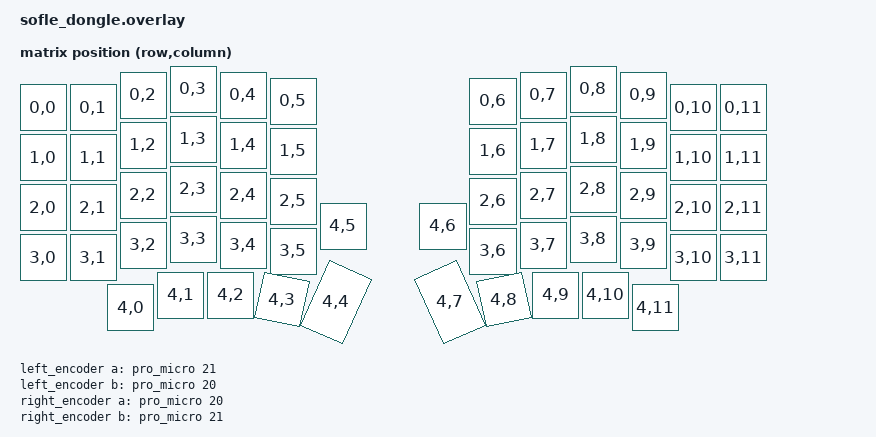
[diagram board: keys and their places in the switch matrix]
#include <dt-bindings/zmk/matrix_transform.h>
#include <physical_layouts.dtsi>

// source: https://github.com/mctechnology17/zmk-config/blob/main/boards/shields/sofle/sofle_dongle_pro_micro.overlay
/ {
    chosen {
        zephyr,display = &oled;
        zmk,kscan = &mock_kscan;
        zmk,physical-layout = &physical_layout0;
    };

    default_transform: keymap_transform_0 {
        compatible = "zmk,matrix-transform";
        columns = <16>;
        rows = <4>;
        map = <
RC(0,0) RC(0,1) RC(0,2) RC(0,3) RC(0,4) RC(0,5)                 RC(0,6) RC(0,7) RC(0,8)  RC(0,9) RC(0,10) RC(0,11)
RC(1,0) RC(1,1) RC(1,2) RC(1,3) RC(1,4) RC(1,5)                 RC(1,6) RC(1,7) RC(1,8)  RC(1,9) RC(1,10) RC(1,11)
RC(2,0) RC(2,1) RC(2,2) RC(2,3) RC(2,4) RC(2,5)                 RC(2,6) RC(2,7) RC(2,8)  RC(2,9) RC(2,10) RC(2,11)
RC(3,0) RC(3,1) RC(3,2) RC(3,3) RC(3,4) RC(3,5) RC(4,5) RC(4,6) RC(3,6) RC(3,7) RC(3,8)  RC(3,9) RC(3,10) RC(3,11)
                RC(4,0) RC(4,1) RC(4,2) RC(4,3) RC(4,4) RC(4,7) RC(4,8) RC(4,9) RC(4,10) RC(4,11)
        >;
    };

    left_encoder: encoder_left {
        compatible = "alps,ec11";
        a-gpios = <&pro_micro 21 (GPIO_ACTIVE_HIGH | GPIO_PULL_UP)>;
        b-gpios = <&pro_micro 20 (GPIO_ACTIVE_HIGH | GPIO_PULL_UP)>;
        steps = <80>;
        status = "disabled";
    };

    right_encoder: encoder_right {
        compatible = "alps,ec11";
        a-gpios = <&pro_micro 20 (GPIO_ACTIVE_HIGH | GPIO_PULL_UP)>;
        b-gpios = <&pro_micro 21 (GPIO_ACTIVE_HIGH | GPIO_PULL_UP)>;
        steps = <80>;
        status = "disabled";
    };

    sensors: sensors {
        compatible = "zmk,keymap-sensors";
        sensors = <&left_encoder &right_encoder>;
        triggers-per-rotation = <20>;
    };

    mock_kscan: kscan_0 {
        compatible = "zmk,kscan-mock";
        // wakeup-source;
        columns = <0>;
        rows = <0>;
        events = <0>;
    };

    physical_layout0: physical_layout_0 {
        compatible = "zmk,physical-layout";
        display-name = "Default Layout";
        transform = <&default_transform>;
        // main: https://github.com/zmkfirmware/zmk/blob/main/app/dts/layouts/josefadamcik/sofle.dtsi
        keys  //                     w   h    x    y     rot    rx    ry
            = <&key_physical_attrs 100 100    0   37       0     0     0>
            , <&key_physical_attrs 100 100  100   37       0     0     0>
            , <&key_physical_attrs 100 100  200   12       0     0     0>
            , <&key_physical_attrs 100 100  300    0       0     0     0>
            , <&key_physical_attrs 100 100  400   12       0     0     0>
            , <&key_physical_attrs 100 100  500   24       0     0     0>
            , <&key_physical_attrs 100 100  900   24       0     0     0>
            , <&key_physical_attrs 100 100 1000   12       0     0     0>
            , <&key_physical_attrs 100 100 1100    0       0     0     0>
            , <&key_physical_attrs 100 100 1200   12       0     0     0>
            , <&key_physical_attrs 100 100 1300   37       0     0     0>
            , <&key_physical_attrs 100 100 1400   37       0     0     0>
            , <&key_physical_attrs 100 100    0  137       0     0     0>
            , <&key_physical_attrs 100 100  100  137       0     0     0>
            , <&key_physical_attrs 100 100  200  112       0     0     0>
            , <&key_physical_attrs 100 100  300  100       0     0     0>
            , <&key_physical_attrs 100 100  400  112       0     0     0>
            , <&key_physical_attrs 100 100  500  124       0     0     0>
            , <&key_physical_attrs 100 100  900  124       0     0     0>
            , <&key_physical_attrs 100 100 1000  112       0     0     0>
            , <&key_physical_attrs 100 100 1100  100       0     0     0>
            , <&key_physical_attrs 100 100 1200  112       0     0     0>
            , <&key_physical_attrs 100 100 1300  137       0     0     0>
            , <&key_physical_attrs 100 100 1400  137       0     0     0>
            , <&key_physical_attrs 100 100    0  237       0     0     0>
            , <&key_physical_attrs 100 100  100  237       0     0     0>
            , <&key_physical_attrs 100 100  200  212       0     0     0>
            , <&key_physical_attrs 100 100  300  200       0     0     0>
            , <&key_physical_attrs 100 100  400  212       0     0     0>
            , <&key_physical_attrs 100 100  500  224       0     0     0>
            , <&key_physical_attrs 100 100  900  224       0     0     0>
            , <&key_physical_attrs 100 100 1000  212       0     0     0>
            , <&key_physical_attrs 100 100 1100  200       0     0     0>
            , <&key_physical_attrs 100 100 1200  212       0     0     0>
            , <&key_physical_attrs 100 100 1300  237       0     0     0>
            , <&key_physical_attrs 100 100 1400  237       0     0     0>
            , <&key_physical_attrs 100 100    0  337       0     0     0>
            , <&key_physical_attrs 100 100  100  337       0     0     0>
            , <&key_physical_attrs 100 100  200  312       0     0     0>
            , <&key_physical_attrs 100 100  300  300       0     0     0>
            , <&key_physical_attrs 100 100  400  312       0     0     0>
            , <&key_physical_attrs 100 100  500  324       0     0     0>
            , <&key_physical_attrs 100 100  600  274       0     0     0>
            , <&key_physical_attrs 100 100  800  274       0     0     0>
            , <&key_physical_attrs 100 100  900  324       0     0     0>
            , <&key_physical_attrs 100 100 1000  312       0     0     0>
            , <&key_physical_attrs 100 100 1100  300       0     0     0>
            , <&key_physical_attrs 100 100 1200  312       0     0     0>
            , <&key_physical_attrs 100 100 1300  337       0     0     0>
            , <&key_physical_attrs 100 100 1400  337       0     0     0>
            , <&key_physical_attrs 100 100  175  437       0     0     0>
            , <&key_physical_attrs 100 100  275  412       0     0     0>
            , <&key_physical_attrs 100 100  375  412       0     0     0>
            , <&key_physical_attrs 100 100  490  412    1200   490   412>
            , <&key_physical_attrs 100 150  600  383    2400   600   433>
            , <&key_physical_attrs 100 150  800  383  (-2400)  900   433>
            , <&key_physical_attrs 100 100  910  412  (-1200) 1010   412>
            , <&key_physical_attrs 100 100  1025 412       0     0     0>
            , <&key_physical_attrs 100 100  1125 412       0     0     0>
            , <&key_physical_attrs 100 100  1225 437       0     0     0>
        ;
    };
};

// 128x32 OLED
&pro_micro_i2c {
    status = "okay";

    oled: ssd1306@3c {
        compatible = "solomon,ssd1306fb";
        reg = <0x3c>;
        width = <128>;
        height = <64>;
        segment-offset = <0>;
        page-offset = <0>;
        display-offset = <0>;
        multiplex-ratio = <63>;
        segment-remap;
        com-invdir;
        inversion-on;
        prechargep = <0x22>;
    };
};

/*
// 128x64 OLED
&pro_micro_i2c {
    status = "okay";

    oled: ssd1306@3c {
        compatible = "solomon,ssd1306fb";
        reg = <0x3c>;
        width = <128>;
        height = <64>;
        segment-offset = <0>;
        page-offset = <0>;
        display-offset = <0>;
        multiplex-ratio = <63>;
        segment-remap;
        com-invdir;
        inversion-on;
        prechargep = <0x22>;
    };
};

// 128x32 OLED
&pro_micro_i2c {
    status = "okay";

    oled: ssd1306@3c {
        compatible = "solomon,ssd1306fb";
        reg = <0x3c>;
        width = <128>;
        height = <32>;
        segment-offset = <0>;
        page-offset = <0>;
        display-offset = <0>;
        multiplex-ratio = <31>;
        segment-remap;
        com-invdir;
        com-sequential;
        inversion-on;
        prechargep = <0x22>;
    };
};

// 128x64 OLED model sh1106
&pro_micro_i2c {
    status = "okay";
    oled: sh1106@3c {
        compatible = "sinowealth,sh1106";
        reg = <0x3c>;
        width = <129>;
        height = <64>;
        segment-offset = <1>;
        page-offset = <0>;
        display-offset = <0>;
        multiplex-ratio = <63>;
        segment-remap;
        com-invdir;
        inversion-on;
        prechargep = <0x22>;
        };
};

// 128x128 OLED model sh1107
&pro_micro_i2c {
    status = "okay";
    oled: sh1106@3c {
        compatible = "sinowealth,sh1106";
        reg = <0x3c>;
        width = <120>;
        height = <128>;
        segment-offset = <0>;
        page-offset = <0>;
        display-offset = <0>;
        multiplex-ratio = <119>;
        segment-remap;
        com-invdir;
        inversion-on;
        prechargep = <0x22>;
        };
};
*/

// vim: filetype=dts fdm=marker:
